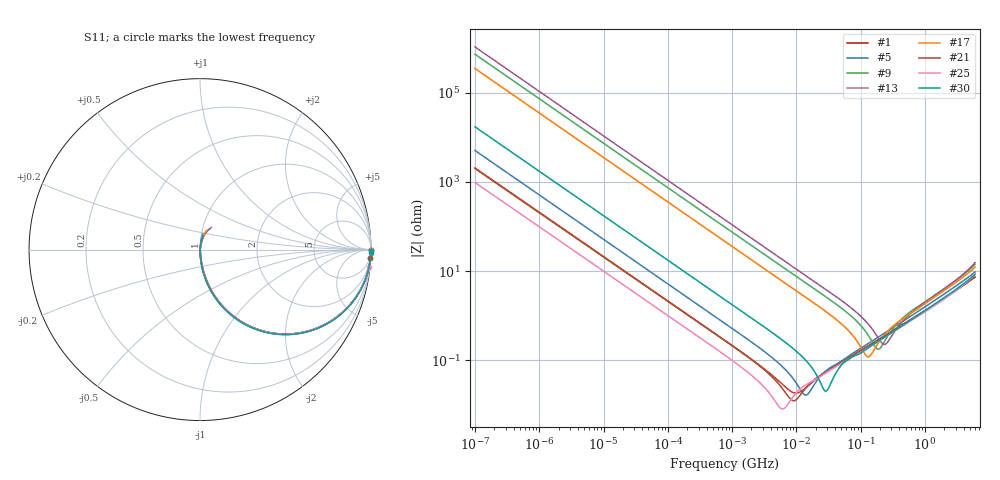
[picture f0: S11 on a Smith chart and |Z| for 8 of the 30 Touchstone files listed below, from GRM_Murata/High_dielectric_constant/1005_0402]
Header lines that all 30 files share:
!These Parameters are Measured in Series Mode Connection
!Data Generated on Mar 30, 2021
!  o--ll--o
!Port1  Port2
!  o------o
!Operation Temp=25[degC], DC Bias Voltage=0[V]
# Hz S RI R 50
!Freq.(Hz) S11(Real) S11(Imag) S21(Real) S21(Imag) S12(Real) S12(Imag) S22(Real) S22(Imag)
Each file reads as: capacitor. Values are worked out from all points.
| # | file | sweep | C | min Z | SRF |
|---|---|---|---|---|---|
| 1 | GRM153R61A105ME95.s2p | 100 Hz to 6 GHz | 773 nF | 18.6 mohm | 10.08 MHz |
| 2 | GRM155B10J104KA01.s2p | 100 Hz to 6 GHz | 93 nF | 22.5 mohm | 27.82 MHz |
| 3 | GRM155B10J154ME01.s2p | 100 Hz to 6 GHz | 146 nF | 27.3 mohm | 20.42 MHz |
| 4 | GRM155B10J224KE01.s2p | 100 Hz to 6 GHz | 214 nF | 21 mohm | 17.31 MHz |
| 5 | GRM155B10J334KE01.s2p | 100 Hz to 6 GHz | 313 nF | 16.8 mohm | 14.27 MHz |
| 6 | GRM155B11C333KA01.s2p | 100 Hz to 6 GHz | 31.8 nF | 35.8 mohm | 46.48 MHz |
| 7 | GRM155B11E103KA01.s2p | 100 Hz to 6 GHz | 9.51 nF | 82.6 mohm | 85.79 MHz |
| 8 | GRM155B11E153MA61.s2p | 100 Hz to 6 GHz | 14.8 nF | 64.3 mohm | 66.24 MHz |
| 9 | GRM155B11E222KA01.s2p | 100 Hz to 6 GHz | 2.19 nF | 179 mohm | 188.1 MHz |
| 10 | GRM155B11E223MA61.s2p | 100 Hz to 6 GHz | 21.8 nF | 51.8 mohm | 55.74 MHz |
| 11 | GRM155B11E682KA01.s2p | 100 Hz to 6 GHz | 6.56 nF | 104 mohm | 105.4 MHz |
| 12 | GRM155B11H102MA01.s2p | 100 Hz to 6 GHz | 976 pF | 278 mohm | 288.1 MHz |
| 13 | GRM155B11H152MA01.s2p | 100 Hz to 6 GHz | 1.5 nF | 229 mohm | 233.8 MHz |
| 14 | GRM155B11H221KA01.s2p | 100 Hz to 6 GHz | 218 pF | 677 mohm | 641.5 MHz |
| 15 | GRM155B11H331KA01.s2p | 100 Hz to 6 GHz | 322 pF | 553 mohm | 515.3 MHz |
| 16 | GRM155B11H332MA01.s2p | 100 Hz to 6 GHz | 3.3 nF | 144 mohm | 153.2 MHz |
| 17 | GRM155B11H472KA01.s2p | 100 Hz to 6 GHz | 4.56 nF | 121 mohm | 132 MHz |
| 18 | GRM155B11H681MA01.s2p | 100 Hz to 6 GHz | 659 pF | 368 mohm | 335.9 MHz |
| 19 | GRM155B30G475ME47.s2p | 100 Hz to 6 GHz | 3.43 uF | 6.89 mohm | 3.957 MHz |
| 20 | GRM155B30J105KE18.s2p | 100 Hz to 6 GHz | 808 nF | 13.1 mohm | 9.106 MHz |
| 21 | GRM155B30J105ME18.s2p | 100 Hz to 6 GHz | 793 nF | 12.5 mohm | 9.362 MHz |
| 22 | GRM155B30J474KE18.s2p | 100 Hz to 6 GHz | 438 nF | 14.5 mohm | 12.09 MHz |
| 23 | GRM155B30J684KE18.s2p | 100 Hz to 6 GHz | 643 nF | 12.5 mohm | 9.874 MHz |
| 24 | GRM155B31A105ME01.s2p | 100 Hz to 6 GHz | 709 nF | 14.6 mohm | 9.969 MHz |
| 25 | GRM155B31A225ME95.s2p | 100 Hz to 6 GHz | 1.63 uF | 8.15 mohm | 6.275 MHz |
| 26 | GRM155B31C105KA12.s2p | 100 Hz to 6 GHz | 526 nF | 15.2 mohm | 12.15 MHz |
| 27 | GRM155B31E105MA12.s2p | 100 Hz to 6 GHz | 542 nF | 14.3 mohm | 12.14 MHz |
| 28 | GRM155B31E473KA87.s2p | 100 Hz to 6 GHz | 46 nF | 29.1 mohm | 39.92 MHz |
| 29 | GRM155B31H103MA88.s2p | 100 kHz to 6 GHz | 9.59 nF | 59.5 mohm | 89.98 MHz |
| 30 | GRM155B31H104KE14.s2p | 100 Hz to 6 GHz | 92.2 nF | 20.5 mohm | 29.1 MHz |
